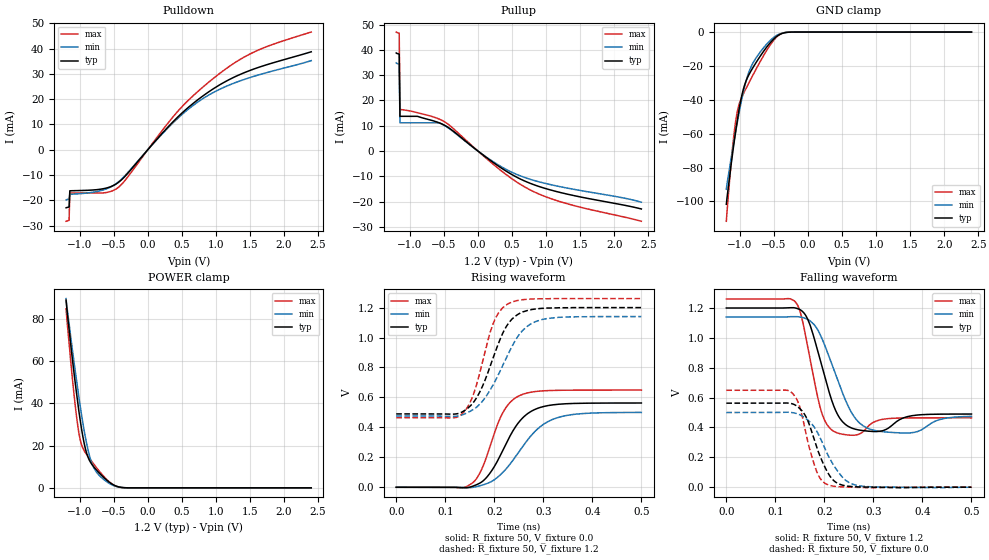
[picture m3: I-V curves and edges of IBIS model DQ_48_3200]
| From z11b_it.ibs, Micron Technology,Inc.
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| MODEL DQ_48_3200 (48 Ohm Data I/O with no ODT, 1600-3200Mbps)
[Model]   DQ_48_3200
Model_type   I/O
Vinl = 905.000mV
Vinh = 1015.000mV
Vmeas = 960.000mV
Vref = 1200.000mV
Cref = 0.0pF
Rref = 50.000Ohm
|   typ   min   max
|C_comp   0.780pF   0.730pF   0.830pF
C_comp_pullup   0.390pF   0.365pF   0.415pF
C_comp_pulldown   0.390pF   0.365pF   0.415pF
[Model Spec]
| Timing spec test load voltage corners
Vref   1.2000V   1.1400V   1.2600V
| Dynamic Overshoot Parameters from DDR4 Specification
|D_overshoot_ampl_h   0.40   NA   NA
|D_overshoot_ampl_l   0.40   NA   NA
|D_overshoot_area_h   0.0800n   NA   NA
|D_overshoot_area_l   0.0800n   NA   NA
[Voltage Range]   1.2000V   1.1400V   1.2600V
| Junction Temperature (Ambient temp is 35C typ, 95C min, -40C max)
[Temperature Range]   50.0   110.0   -40.0
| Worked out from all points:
|   slope of the pulldown table from 0 to 0.18 V, typ, clamps not added: 32.4 ohm
|   slope of the pullup table from 0 to 0.18 V, typ, clamps not added: 49.2 ohm
|   GND clamp passes 1 mA (typ) near -0.39 V on its own axis
|   POWER clamp passes 1 mA (typ) near -0.48 V on its own axis
|   rising waveform, R_fixture 50, V_fixture 0.0: 20-80 % time 59ps typ, 74.4ps min, 45.5ps max; typ from 0 V to 0.563 V
|   rising waveform, R_fixture 50, V_fixture 1.2: 20-80 % time 52.1ps typ, 64.6ps min, 40.9ps max; typ from 0.49 V to 1.2 V
|   falling waveform, R_fixture 50, V_fixture 1.2: 20-80 % time 36.5ps typ, 46.3ps min, 28.7ps max; typ from 1.2 V to 0.49 V
|   falling waveform, R_fixture 50, V_fixture 0.0: 20-80 % time 38.9ps typ, 48.9ps min, 30.1ps max; typ from 0.563 V to 0 V
[Pulldown]
|   Voltage   I(typ)   I(min)   I(max)
-1.2V     -22.96mA   -19.84mA   -28.28mA
-1.156V   -22.64mA   -19.51mA   -27.92mA
-1.145V   -16.23mA   -17.6mA    -17.11mA
-687.3mV  -15.58mA   -16.14mA   -17.09mA
-436.4mV  -13.01mA   -12.83mA   -14.96mA
-316.4mV  -9.989mA   -9.694mA   -11.54mA
469.1mV   13.67mA    13.12mA    16.04mA
763.6mV   20.34mA    19.39mA    23.7mA
1.047V    25.5mA     23.78mA    29.97mA
1.342V    29.59mA    27.08mA    35.46mA
1.625V    32.53mA    29.55mA    39.41mA
2.4V      38.71mA    35.21mA    46.51mA
[GND Clamp]
|   Voltage   I(typ)   I(min)   I(max)
-1.2V     -101.7mA   -92.86mA   -111.8mA
-1.135V   -79.96mA   -75.85mA   -79.4mA
-1.102V   -69.91mA   -67.92mA   -65.62mA
-1.058V   -57.35mA   -57.73mA   -51.32mA
-1.015V   -46.2mA    -48.11mA   -42.97mA
-938.2mV  -32.13mA   -33.39mA   -35.52mA
-883.6mV  -26.44mA   -25.42mA   -31.18mA
-829.1mV  -22.35mA   -19.88mA   -26.94mA
-632.7mV  -10.25mA   -8.308mA   -12.55mA
-436.4mV  -1.919mA   -1.478mA   -2.075mA
-250.9mV  -38.97uA   -39.89uA   -11.47uA
2.4V      0A         0A         0A
[Pullup]
|   Voltage   I(typ)   I(min)   I(max)
-1.2V     38.81mA    34.88mA    47.09mA
-1.156V   38.35mA    34.37mA    46.64mA
-1.145V   13.74mA    11.17mA    16.45mA
-883.6mV  13.71mA    11.17mA    15.14mA
-567.3mV  11.15mA    11.09mA    12.63mA
-392.7mV  8.512mA    8.301mA    9.625mA
0V        622.1nA    636.9nA    717nA
294.5mV   -5.842mA   -5.41mA    -6.788mA
567.3mV   -10.32mA   -9.226mA   -12.23mA
829.1mV   -13.4mA    -11.67mA   -16.2mA
1.375V    -17.43mA   -14.99mA   -21.32mA
2.4V      -22.93mA   -20.24mA   -27.8mA
[Power Clamp]
|   Voltage   I(typ)   I(min)   I(max)
-1.2V     88.83mA    89.6mA     84.8mA
-1.135V   68.72mA    72.21mA    60.94mA
-1.08V    53.49mA    58.78mA    43.22mA
-1.036V   42.21mA    48.5mA     31.23mA
-992.7mV  32.04mA    38.77mA    22.83mA
-916.4mV  18.53mA    23.93mA    16.66mA
-840mV    12.03mA    13.41mA    13.24mA
-763.6mV  8.812mA    7.919mA    9.988mA
-632.7mV  4.49mA     3.59mA     4.929mA
-490.9mV  1.198mA    934.3uA    1.128mA
-349.1mV  89.68uA    82.59uA    42.59uA
2.4V      0A         0A         0A
[Ramp]
|   typ   min   max
dV/dt_r   337.66m/58.99p   299.94m/74.37p   389.48m/45.54p
dV/dt_f   426.03m/36.45p   399.43m/46.27p   477.24m/28.66p
R_load = 50
[Rising Waveform]
R_fixture = 50
V_fixture = 0.0
|   Time   V(typ)   V(min)   V(max)
0s        2.779uV    7.506uV    147.8nV
134ps     -2.781mV   -1.899mV   -3.662mV
155ps     5.712mV    -1.145mV   27.73mV
170ps     26.71mV    9.482mV    91.4mV
186ps     72.21mV    26.04mV    219.7mV
218ps     250.5mV    101.2mV    501.4mV
256ps     456.9mV    263.2mV    618.5mV
292ps     531.4mV    399.9mV    642.2mV
331ps     554.5mV    466.9mV    647.6mV
500ps     562.8mV    499.9mV    649.1mV
[Rising Waveform]
R_fixture   = 50
V_fixture   = 1.2
V_fixture_min = 1.14
V_fixture_max = 1.26
|   Time   V(typ)   V(min)   V(max)
0s        490mV      475.8mV    464.6mV
117ps     488.4mV    473.1mV    463.6mV
136ps     505.8mV    484.9mV    495.8mV
159ps     573.5mV    523.2mV    634.1mV
177ps     682.3mV    579.2mV    850.5mV
200ps     885.8mV    698.3mV    1.111V
232ps     1.108V     914mV      1.232V
261ps     1.174V     1.058V     1.254V
297ps     1.195V     1.12V      1.259V
500ps     1.2V       1.14V      1.26V
[Falling Waveform]
R_fixture   = 50
V_fixture   = 1.2
V_fixture_min = 1.14
V_fixture_max = 1.26
|   Time   V(typ)   V(min)   V(max)
0s        1.2V       1.14V      1.26V
143ps     1.198V     1.142V     1.232V
153ps     1.183V     1.138V     1.146V
166ps     1.125V     1.123V     938.9mV
193ps     832.3mV    1.011V     514.9mV
222ps     520.3mV    762.9mV    369.3mV
259ps     392.2mV    480.1mV    347.9mV
295ps     373.8mV    386.7mV    424.5mV
379ps     479mV      365.1mV    464.2mV
500ps     489.9mV    474.3mV    464.6mV
[Falling Waveform]
R_fixture = 50
V_fixture = 0.0
|   Time   V(typ)   V(min)   V(max)
0s        562.8mV    500.2mV    649.2mV
133ps     560mV      500.2mV    634.6mV
148ps     532.2mV    487.5mV    555.6mV
161ps     480.2mV    462.9mV    379.6mV
184ps     270.4mV    377.9mV    107.8mV
194ps     185.2mV    311.4mV    47.33mV
207ps     96.79mV    217mV      16.53mV
237ps     13.64mV    66.3mV     1.954mV
265ps     2.521mV    13.4mV     -598.9uV
500ps     7.18uV     -266.6uV   5.298uV
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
